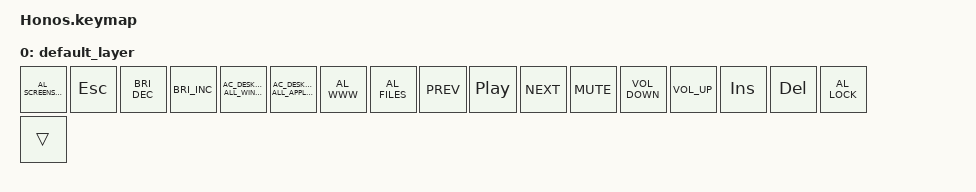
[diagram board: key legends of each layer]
/*
 * Copyright (c) 2020 The ZMK Contributors
 *
 * SPDX-License-Identifier: MIT
 */

#include <behaviors.dtsi>
#include <dt-bindings/zmk/keys.h>
#include <dt-bindings/zmk/bt.h>

/ {
        keymap {
                compatible = "zmk,keymap";

                default_layer {

                        bindings = <
                        &kp C_AL_SCREENSAVER   &kp ESC  &kp C_BRIGHTNESS_DEC  &kp C_BRIGHTNESS_INC  &kp C_AC_DESKTOP_SHOW_ALL_WINDOWS &kp  C_AC_DESKTOP_SHOW_ALL_APPLICATIONS  &kp C_AL_WWW  &kp C_AL_FILES  &kp C_PREV  &kp C_PP  &kp C_NEXT  &kp C_MUTE  &kp C_VOLUME_DOWN  &kp C_VOLUME_UP  &kp INSERT  &kp DEL  &kp C_AL_LOCK
                        &trans
                        >;
                };
                
        };
};
